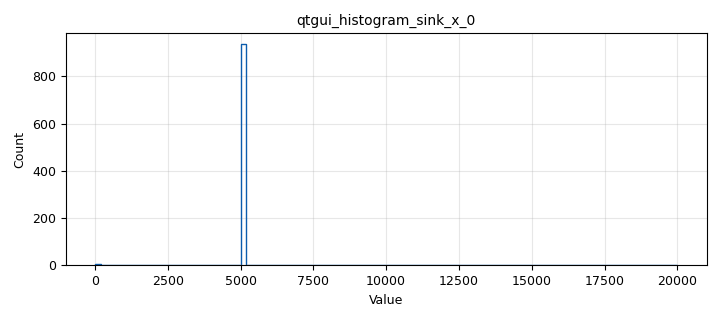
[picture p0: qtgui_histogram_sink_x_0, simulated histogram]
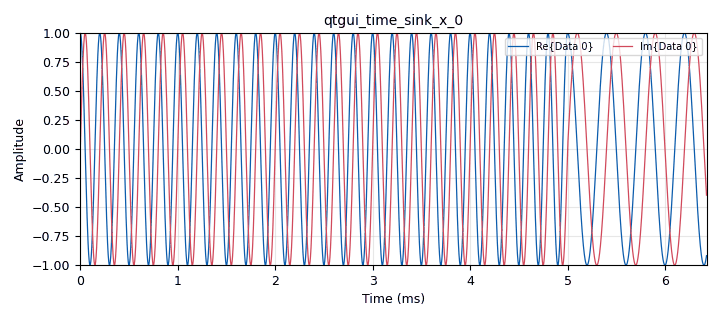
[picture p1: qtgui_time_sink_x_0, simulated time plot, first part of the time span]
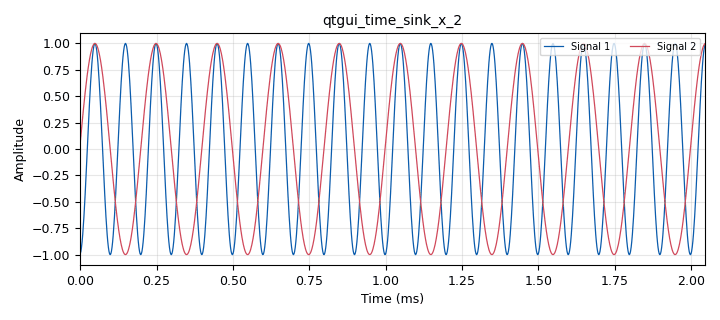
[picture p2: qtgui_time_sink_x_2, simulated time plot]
options:
  parameters:
    generate_options: qt_gui
    id: test2
    output_language: python
    title: Not titled yet
  states: {}

blocks:
- name: Frequency_Slider
  id: variable_qtgui_range
  parameters:
    start: '0'
    step: '1000'
    stop: 10**10
    value: '10000'
  states: {}
- name: Noise_Amp
  id: variable_qtgui_range
  parameters:
    start: '0'
    step: '0.05'
    stop: '100'
    value: '0'
  states: {}
- name: SampleRateSlider
  id: variable_qtgui_range
  parameters:
    start: '1000'
    step: '10000'
    stop: '100000000'
    value: '500000'
  states: {}
- name: delay
  id: variable
  parameters:
    value: functionprobe
  states: {state: disabled}
- name: delay
  id: variable_function_probe
  parameters:
    block_id: probe1
    function_name: level
    poll_rate: samp_rate
    value: '0'
  states: {state: disabled}
- name: delay
  id: variable_qtgui_range
  parameters:
    start: '0'
    step: '1'
    stop: '20000'
    value: '5000'
  states: {}
- name: frequency
  id: variable
  parameters:
    value: Frequency_Slider
  states: {}
- name: samp_rate
  id: variable
  parameters:
    value: SampleRateSlider
  states: {}
- name: variable_0
  id: variable
  parameters:
    value: (int(frequency),int(frequency/2),int(frequency/4),int(frequency/8))
  states: {}
- name: variable_qtgui_chooser_0
  id: variable_qtgui_chooser
  parameters:
    num_opts: '3'
    option0: '0'
    option1: '1000'
    option2: '2'
    type: int
    value: '0'
  states: {}
- name: analog_agc_xx_0
  id: analog_agc_xx
  parameters:
    gain: '1'
    max_gain: '65536'
    rate: '1e-4'
    reference: '1.0'
    type: complex
  states: {}
- name: analog_noise_source_x_0
  id: analog_noise_source_x
  parameters:
    amp: Noise_Amp
    noise_type: analog.GR_GAUSSIAN
    seed: '0'
    type: complex
  states: {}
- name: analog_sig_source_x_0_0
  id: analog_sig_source_x
  parameters:
    amp: '1'
    freq: frequency
    offset: '0'
    phase: '0'
    samp_rate: samp_rate
    type: complex
    waveform: analog.GR_COS_WAVE
  states: {}
- name: analog_sig_source_x_0_0_0
  id: analog_sig_source_x
  parameters:
    amp: '1'
    freq: frequency/2
    offset: '0'
    phase: '0'
    samp_rate: samp_rate
    type: complex
    waveform: analog.GR_COS_WAVE
  states: {}
- name: analog_sig_source_x_0_0_0_0
  id: analog_sig_source_x
  parameters:
    amp: '1'
    freq: frequency/4
    offset: '0'
    phase: '0'
    samp_rate: samp_rate
    type: complex
    waveform: analog.GR_COS_WAVE
  states: {}
- name: analog_sig_source_x_0_0_0_1
  id: analog_sig_source_x
  parameters:
    amp: '1'
    freq: frequency/8
    offset: '0'
    phase: '0'
    samp_rate: samp_rate
    type: complex
    waveform: analog.GR_COS_WAVE
  states: {}
- name: blocks_add_xx_0
  id: blocks_add_xx
  parameters:
    type: complex
  states: {}
- name: blocks_complex_to_float_0
  id: blocks_complex_to_float
  parameters: {}
  states: {}
- name: blocks_complex_to_float_1
  id: blocks_complex_to_float
  parameters: {}
  states: {}
- name: blocks_delay_0
  id: blocks_delay
  parameters:
    delay: delay
    type: complex
  states: {}
- name: blocks_delay_0_0
  id: blocks_delay
  parameters:
    delay: delay
    type: complex
  states: {state: disabled}
- name: blocks_delay_0_1
  id: blocks_delay
  parameters:
    delay: delay
    type: complex
  states: {state: disabled}
- name: blocks_delay_0_2
  id: blocks_delay
  parameters:
    delay: delay
    type: complex
  states: {state: disabled}
- name: blocks_delay_0_3
  id: blocks_delay
  parameters:
    delay: delay
    type: complex
  states: {state: disabled}
- name: blocks_delay_1
  id: blocks_delay
  parameters:
    delay: '0'
    type: complex
  states: {state: disabled}
- name: blocks_null_sink_1
  id: blocks_null_sink
  parameters:
    type: float
  states: {}
- name: blocks_null_sink_2
  id: blocks_null_sink
  parameters:
    type: float
  states: {}
- name: blocks_null_sink_2_0
  id: blocks_null_sink
  parameters:
    type: float
  states: {}
- name: blocks_stream_mux_0
  id: blocks_stream_mux
  parameters:
    lengths: variable_0
    num_inputs: '4'
    type: complex
  states: {}
- name: blocks_stream_mux_0_0
  id: blocks_stream_mux
  parameters:
    lengths: (18750,18750)
    type: complex
  states: {state: disabled}
- name: blocks_stream_mux_0_1
  id: blocks_stream_mux
  parameters:
    lengths: variable_0
    num_inputs: '4'
    type: complex
  states: {state: disabled}
- name: blocks_throttle_0
  id: blocks_throttle
  parameters:
    samples_per_second: samp_rate
    type: complex
  states: {}
- name: epy_block_1
  id: epy_block
  parameters:
    _source_code: |
      import numpy as np
      from gnuradio import gr

      class CorrelationDelayEstimator(gr.decim_block):
          def __init__(self, vectorsize=18750, sample_rate=500000):
              gr.decim_block.__init__(
                  self,
                  name='CorrelationDelayEstimator',
                  in_sig=[np.complex64, np.complex64],
                  out_sig=[np.float32],
                  decim=vectorsize
              )
              self.set_relative_rate(1.0/vectorsize)
              self.decimation = vectorsize
              self.vectorsize = vectorsize
              self.range_clock_signal = np.zeros(vectorsize, dtype=np.complex64)
              self.sequential_signal = np.zeros(vectorsize, dtype=np.complex64)
              self.i = 0
              self.j = 0
              self.counter = 0
              self.sample_rate = sample_rate
              self.correlation_values = np.zeros(vectorsize, dtype=np.complex64)

          def work(self, input_items, output_items):
              sequential_signal = input_items[0]
              range_clock_signal = input_items[1]
              num_samples = sequential_signal.shape[0]
              
              # Process each sample in the input buffer
              for k in range(num_samples):
                  if self.i < self.vectorsize:
                      # Take the latest values from the buffer
                      self.range_clock_signal[self.i] = range_clock_signal[k]
                      self.sequential_signal[self.i] = sequential_signal[k]
                      self.i += 1
                  else:
                      # Calculate delay
                      self.correlation_values = np.fft.ifft(np.fft.fft(self.range_clock_signal) * np.conj(np.fft.fft(self.sequential_signal)))
                      self.sample_delay_count = np.argmax(np.abs(self.correlation_values))
                      delay = self.vectorsize - self.sample_delay_count
                      delay_in_micro_seconds = 10 ** 6 * delay / self.sample_rate

                      output_items[0][0] = delay
                      self.i = 0
                      print(delay)

              self.j = 0
              return num_samples // self.vectorsize
    sample_rate: samp_rate
    vectorsize: sum(variable_0)
  states: {}
- name: probe1
  id: blocks_probe_signal_x
  parameters:
    type: float
  states: {state: disabled}
- name: qtgui_histogram_sink_x_0
  id: qtgui_histogram_sink_x
  parameters:
    bins: '100'
    grid: 'True'
    size: '1024'
    type: float
    xmax: '20000'
    xmin: '-1'
  states: {}
- name: qtgui_number_sink_0
  id: qtgui_number_sink
  parameters:
    autoscale: 'True'
    graph_type: qtgui.NUM_GRAPH_HORIZ
    type: float
  states: {}
- name: qtgui_time_sink_x_0
  id: qtgui_time_sink_x
  parameters:
    entags: 'False'
    size: '50000'
    srate: samp_rate
    type: complex
  states: {}
- name: qtgui_time_sink_x_2
  id: qtgui_time_sink_x
  parameters:
    autoscale: 'True'
    entags: 'False'
    nconnections: '2'
    size: '1024'
    srate: samp_rate
    type: float
  states: {}

connections:
- [analog_agc_xx_0, '0', blocks_complex_to_float_1, '0']
- [analog_agc_xx_0, '0', epy_block_1, '0']
- [analog_noise_source_x_0, '0', blocks_add_xx_0, '1']
- [analog_sig_source_x_0_0, '0', blocks_throttle_0, '0']
- [analog_sig_source_x_0_0_0, '0', blocks_delay_0_1, '0']
- [analog_sig_source_x_0_0_0, '0', blocks_stream_mux_0, '1']
- [analog_sig_source_x_0_0_0_0, '0', blocks_delay_0_3, '0']
- [analog_sig_source_x_0_0_0_0, '0', blocks_stream_mux_0, '2']
- [analog_sig_source_x_0_0_0_1, '0', blocks_delay_0_2, '0']
- [analog_sig_source_x_0_0_0_1, '0', blocks_stream_mux_0, '3']
- [blocks_add_xx_0, '0', analog_agc_xx_0, '0']
- [blocks_complex_to_float_0, '0', qtgui_time_sink_x_2, '1']
- [blocks_complex_to_float_0, '1', blocks_null_sink_1, '0']
- [blocks_complex_to_float_1, '0', qtgui_time_sink_x_2, '0']
- [blocks_complex_to_float_1, '1', blocks_null_sink_2_0, '0']
- [blocks_delay_0, '0', blocks_add_xx_0, '0']
- [blocks_delay_0, '0', blocks_delay_1, '0']
- [blocks_delay_0, '0', blocks_stream_mux_0_0, '1']
- [blocks_delay_0_0, '0', blocks_stream_mux_0_1, '0']
- [blocks_delay_0_1, '0', blocks_stream_mux_0_1, '1']
- [blocks_delay_0_2, '0', blocks_stream_mux_0_1, '3']
- [blocks_delay_0_3, '0', blocks_stream_mux_0_1, '2']
- [blocks_delay_1, '0', blocks_add_xx_0, '0']
- [blocks_stream_mux_0, '0', blocks_complex_to_float_0, '0']
- [blocks_stream_mux_0, '0', blocks_delay_0, '0']
- [blocks_stream_mux_0, '0', blocks_stream_mux_0_0, '0']
- [blocks_stream_mux_0, '0', epy_block_1, '1']
- [blocks_stream_mux_0, '0', qtgui_time_sink_x_0, '0']
- [blocks_stream_mux_0_0, '0', blocks_add_xx_0, '0']
- [blocks_stream_mux_0_1, '0', blocks_add_xx_0, '0']
- [blocks_throttle_0, '0', blocks_delay_0_0, '0']
- [blocks_throttle_0, '0', blocks_stream_mux_0, '0']
- [epy_block_1, '0', blocks_null_sink_2, '0']
- [epy_block_1, '0', probe1, '0']
- [epy_block_1, '0', qtgui_histogram_sink_x_0, '0']
- [epy_block_1, '0', qtgui_number_sink_0, '0']

metadata:
  file_format: 1
  grc_version: 3.10.5.1
